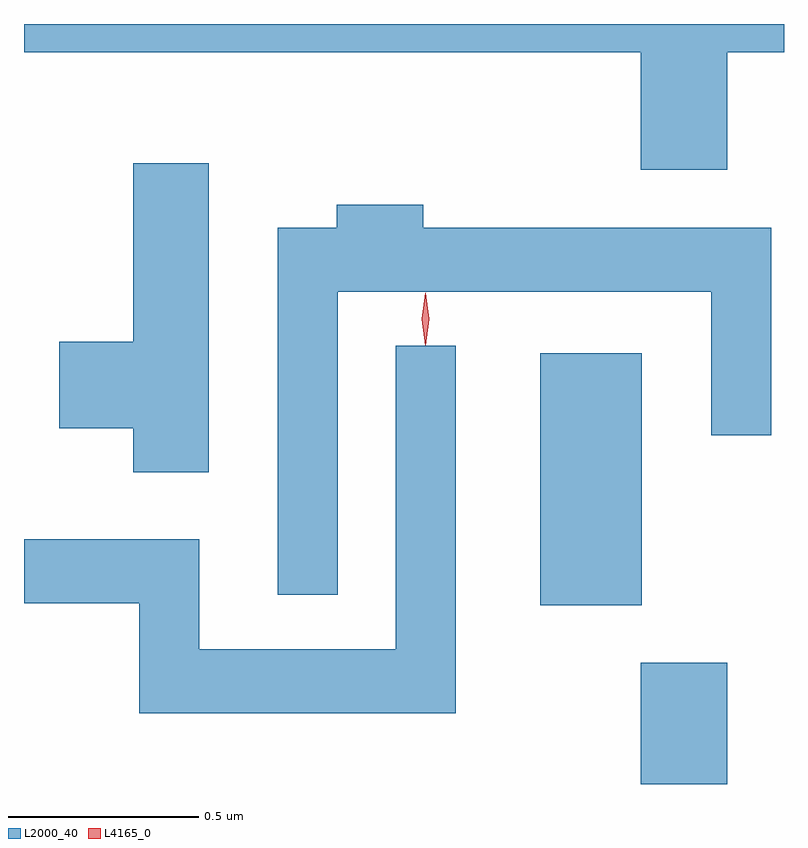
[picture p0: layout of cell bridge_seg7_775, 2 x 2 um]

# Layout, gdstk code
import gdstk
lib = gdstk.Library(unit=1e-6, precision=1e-09)
def R(c, l, rs):  # rectangles x0, y0, x1, y1
    for r in rs: c.add(gdstk.rectangle(r[:2], r[2:], *l))
def P(c, l, *ps):  # polygons
    for p in ps: c.add(gdstk.Polygon(p, *l))
L2000_40 = (2000, 40)
L4165_0 = (4165, 0)

bridge_seg7_775 = lib.new_cell('bridge_seg7_775')
R(bridge_seg7_775, L2000_40, [(503.381,1736.81,503.609,1737.129), (503.116,1737.281,503.384,1737.944)])
P(bridge_seg7_775, L2000_40, [(503.609,1738.736),(503.758,1738.736),(503.758,1738.81),(501.758,1738.81),(501.758,1738.736),(503.381,1738.736),(503.381,1738.426),(503.609,1738.426)],
  [(502.244,1738.444),(502.046,1738.444),(502.046,1737.974),(501.851,1737.974),(501.851,1737.746),(502.046,1737.746),(502.046,1737.631),(502.244,1737.631)],
  [(502.584,1738.106),(503.566,1738.106),(503.566,1737.728),(503.724,1737.728),(503.724,1738.274),(502.809,1738.274),(502.809,1738.334),(502.581,1738.334),(502.581,1738.274),(502.426,1738.274),(502.426,1737.308),(502.584,1737.308)],
  [(502.894,1737.963),(502.736,1737.963),(502.736,1737.164),(502.219,1737.164),(502.219,1737.454),(501.758,1737.454),(501.758,1737.286),(502.061,1737.286),(502.061,1736.996),(502.894,1736.996)])
P(bridge_seg7_775, L4165_0, [(502.814,1737.964),(502.805,1738.033),(502.814,1738.102),(502.815,1738.103),(502.815,1738.102),(502.825,1738.033),(502.815,1737.964),(502.815,1737.964)],
  [(502.814,1737.967),(502.805,1738.034),(502.814,1738.1),(502.815,1738.101),(502.815,1738.1),(502.825,1738.034),(502.815,1737.967),(502.815,1737.967)])

lib.write_gds('bridge_seg7_775.gds')
